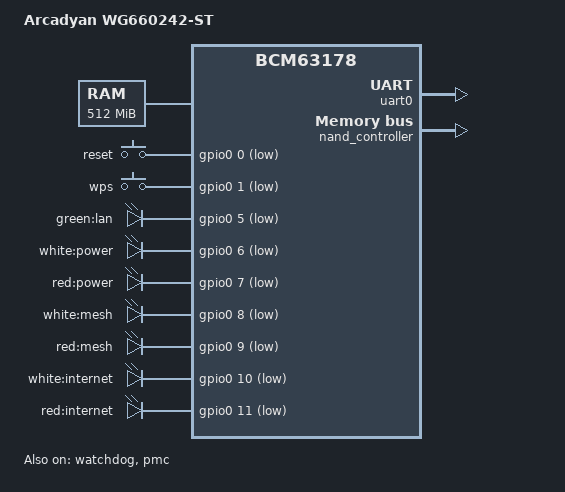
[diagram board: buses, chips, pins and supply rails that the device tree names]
// SPDX-License-Identifier: (GPL-2.0+ OR MIT)
/*
 * Copyright 2025 OpenWrt Contributors
 */

/dts-v1/;

#include "bcm63178.dtsi"
#include <dt-bindings/gpio/gpio.h>
#include <dt-bindings/input/input.h>
#include <dt-bindings/leds/common.h>

/ {
	model = "Arcadyan WG660242-ST";
	compatible = "arcadyan,wg660242-st", "brcm,bcm63178", "brcm,bcmbca";

	aliases {
		serial0 = &uart0;
	};

	chosen {
		stdout-path = "serial0:115200n8";
	};

	memory@0 {
		device_type = "memory";
		reg = <0x0 0x20000000>;
	};

	reserved-memory {
		#address-cells = <1>;
		#size-cells = <1>;
		ranges;

		cma@1f400000 {
			compatible = "shared-dma-pool";
			reusable;
			reg = <0x1f400000 0xc00000>;
		};
	};

	wdt-reboot {
		compatible = "wdt-reboot";
		wdt = <&watchdog>;
	};

	gpio-keys {
		compatible = "gpio-keys-polled";
		poll-interval = <20>;

		reset {
			label = "reset";
			gpios = <&gpio0 0 GPIO_ACTIVE_LOW>;
			linux,code = <KEY_RESTART>;
		};

		wps {
			label = "wps";
			gpios = <&gpio0 1 GPIO_ACTIVE_LOW>;
			linux,code = <KEY_WPS_BUTTON>;
		};
	};

	gpio-leds {
		compatible = "gpio-leds";

		led-lan {
			label = "green:lan";
			gpios = <&gpio0 5 GPIO_ACTIVE_LOW>;
		};

		led-power-white {
			label = "white:power";
			gpios = <&gpio0 6 GPIO_ACTIVE_LOW>;
		};

		led-power-red {
			label = "red:power";
			gpios = <&gpio0 7 GPIO_ACTIVE_LOW>;
		};

		led-mesh-white {
			label = "white:mesh";
			gpios = <&gpio0 8 GPIO_ACTIVE_LOW>;
		};

		led-mesh-red {
			label = "red:mesh";
			gpios = <&gpio0 9 GPIO_ACTIVE_LOW>;
		};

		led-internet-white {
			label = "white:internet";
			gpios = <&gpio0 10 GPIO_ACTIVE_LOW>;
		};

		led-internet-red {
			label = "red:internet";
			gpios = <&gpio0 11 GPIO_ACTIVE_LOW>;
		};
	};
};

&uart0 {
	status = "okay";
};

&nand_controller {
	brcm,wp-not-connected;
	status = "okay";
};

&nandcs {
	nand-on-flash-bbt;
	brcm,nand-ecc-use-strap;
};

&watchdog {
	status = "okay";
};

&gpio0 {
	status = "okay";
};

&gpio1 {
	status = "okay";
};

&gpio2 {
	ngpios = <24>;
	status = "okay";
};

&leds {
	status = "okay";
	brcm,serial-shift-bits = <32>;
};

&pl081_dma {
	status = "okay";
};

&pmc {
	status = "okay";
};

&boot_state {
	status = "okay";
};
